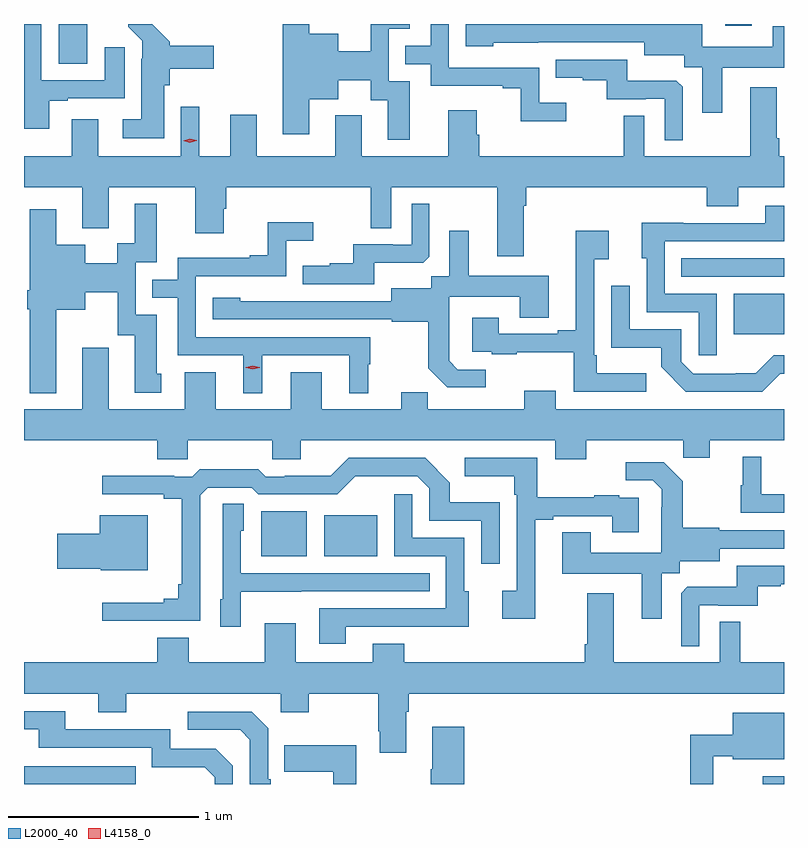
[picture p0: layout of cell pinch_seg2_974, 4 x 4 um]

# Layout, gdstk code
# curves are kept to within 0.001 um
import gdstk
lib = gdstk.Library(unit=1e-6, precision=1e-09)
def R(c, l, rs):  # rectangles x0, y0, x1, y1
    for r in rs: c.add(gdstk.rectangle(r[:2], r[2:], *l))
def P(c, l, *ps):  # polygons
    for p in ps: c.add(gdstk.Polygon(p, *l))
L2000_40 = (2000, 40)
L4158_0 = (4158, 0)

pinch_seg2_974 = lib.new_cell('pinch_seg2_974')
R(pinch_seg2_974, L2000_40, [(135.653,648.492,136.241,648.585), (139.54,648.492,139.653,648.532), (136.901,649.691,137.14,649.927), (137.234,649.691,137.512,649.906), (139.388,650.858,139.653,651.073), (139.111,651.162,139.653,651.258), (135.836,652.282,135.985,652.492), (139.343,652.482,139.483,652.492)])
P(pinch_seg2_974, L2000_40, [(138.508,652.078),(138.366,652.078),(138.366,652.263),(137.889,652.263),(137.889,652.492),(137.793,652.492),(137.793,652.377),(137.659,652.377),(137.659,652.281),(137.793,652.281),(137.793,652.167),(138.173,652.167),(138.173,652.155),(138.268,652.155),(138.268,651.98),(138.508,651.98)],
  [(135.787,652.089),(135.883,652.089),(135.883,652.101),(136.183,652.101),(136.183,652.369),(136.079,652.369),(136.079,652.197),(135.745,652.197),(135.745,652.492),(135.653,652.492),(135.653,651.942),(135.787,651.942)],
  [(136.39,652.17),(136.421,652.17),(136.421,652.256),(136.651,652.256),(136.651,652.378),(136.421,652.378),(136.421,652.398),(136.327,652.492),(136.201,652.492),(136.201,652.478),(136.275,652.404),(136.275,652.31),(136.271,652.31),(136.271,651.991),(136.173,651.991),(136.173,651.89),(136.39,651.89)],
  [(139.327,652.262),(139.653,652.262),(139.653,652.481),(139.595,652.481),(139.595,652.372),(139.224,652.372),(139.224,652.492),(138.921,652.492),(138.921,652.491),(137.979,652.491),(137.979,652.376),(138.123,652.376),(138.123,652.394),(138.359,652.394),(138.359,652.395),(138.917,652.395),(138.917,652.328),(139.128,652.328),(139.128,652.264),(139.223,652.264),(139.223,652.026),(139.327,652.026)],
  [(137.683,652.191),(137.574,652.191),(137.574,652.467),(137.683,652.467),(137.683,652.492),(137.478,652.492),(137.478,652.348),(137.308,652.348),(137.308,652.441),(137.155,652.441),(137.155,652.492),(137.015,652.492),(137.015,651.912),(137.155,651.912),(137.155,652.097),(137.308,652.097),(137.308,652.196),(137.477,652.196),(137.477,652.09),(137.567,652.09),(137.567,651.882),(137.683,651.882)],
  [(139.119,652.161),(139.087,652.193),(138.829,652.193),(138.829,652.305),(138.451,652.305),(138.451,652.208),(138.595,652.208),(138.595,652.197),(138.719,652.197),(138.719,652.095),(138.926,652.095),(138.926,652.098),(139.026,652.098),(139.026,651.881),(139.119,651.881)],
  [(138.05,651.909),(138.037,651.909),(138.037,652.039),(137.885,652.039),(137.885,651.796),(137.431,651.796),(137.431,652.012),(137.291,652.012),(137.291,651.796),(136.879,651.796),(136.879,652.015),(136.739,652.015),(136.739,651.796),(136.576,651.796),(136.576,652.057),(136.479,652.057),(136.479,651.796),(136.045,651.796),(136.045,651.991),(135.905,651.991),(135.905,651.796),(135.653,651.796),(135.653,651.632),(135.959,651.632),(135.959,651.416),(136.099,651.416),(136.099,651.632),(136.553,651.632),(136.553,651.39),(136.705,651.39),(136.705,651.519),(136.718,651.519),(136.718,651.632),(137.478,651.632),(137.478,651.418),(137.586,651.418),(137.586,651.632),(138.143,651.632),(138.143,651.27),(138.283,651.27),(138.283,651.536),(138.296,651.536),(138.296,651.632),(139.247,651.632),(139.247,651.533),(139.411,651.533),(139.411,651.632),(139.653,651.632),(139.653,651.796),(139.628,651.796),(139.628,651.892),(139.615,651.892),(139.615,652.159),(139.475,652.159),(139.475,651.796),(138.918,651.796),(138.918,652.01),(138.81,652.01),(138.81,651.796),(138.05,651.796)],
  [(135.823,650.987),(135.976,650.987),(135.976,651.08),(136.146,651.08),(136.146,650.853),(136.235,650.853),(136.235,650.55),(136.375,650.55),(136.375,650.652),(136.351,650.652),(136.351,650.961),(136.242,650.961),(136.242,651.237),(136.351,651.237),(136.351,651.547),(136.235,651.547),(136.235,651.338),(136.145,651.338),(136.145,651.232),(135.976,651.232),(135.976,651.331),(135.823,651.331),(135.823,651.517),(135.683,651.517),(135.683,651.091),(135.671,651.091),(135.671,650.991),(135.683,650.991),(135.683,650.549),(135.823,650.549)],
  [(137.497,651.236),(137.755,651.236),(137.787,651.267),(137.787,651.547),(137.694,651.547),(137.694,651.33),(137.594,651.33),(137.594,651.333),(137.387,651.333),(137.387,651.232),(137.263,651.232),(137.263,651.22),(137.119,651.22),(137.119,651.123),(137.497,651.123)],
  [(139.299,651.072),(139.026,651.072),(139.026,651.348),(139.653,651.348),(139.653,651.535),(139.553,651.535),(139.553,651.444),(139.123,651.444),(139.123,651.446),(138.905,651.446),(138.905,651.258),(138.93,651.258),(138.93,650.976),(139.203,650.976),(139.203,650.748),(139.299,650.748)],
  [(136.906,650.748),(137.366,650.748),(137.366,650.549),(137.464,650.549),(137.464,650.7),(137.476,650.7),(137.476,650.844),(136.557,650.844),(136.557,651.165),(137.034,651.165),(137.034,651.35),(137.176,651.35),(137.176,651.449),(136.936,651.449),(136.936,651.274),(136.841,651.274),(136.841,651.261),(136.461,651.261),(136.461,651.147),(136.327,651.147),(136.327,651.051),(136.461,651.051),(136.461,650.748),(136.808,650.748),(136.808,650.549),(136.906,650.549)],
  [(138.082,650.673),(137.937,650.673),(137.89,650.72),(137.89,650.815),(137.892,650.815),(137.892,651.056),(138.263,651.056),(138.263,650.947),(138.415,650.947),(138.415,651.166),(137.995,651.166),(137.995,651.403),(137.891,651.403),(137.891,651.164),(137.796,651.164),(137.796,651.1),(137.585,651.1),(137.585,651.033),(136.791,651.034),(136.791,651.052),(136.647,651.052),(136.647,650.937),(137.589,650.937),(137.589,650.925),(137.781,650.925),(137.781,650.679),(137.881,650.579),(138.082,650.579)],
  [(138.928,650.653),(138.667,650.653),(138.667,650.749),(138.654,650.749),(138.654,651.254),(138.73,651.254),(138.73,651.403),(138.557,651.403),(138.557,650.881),(138.461,650.881),(138.461,650.862),(138.151,650.862),(138.151,650.947),(138.011,650.947),(138.011,650.766),(138.115,650.766),(138.115,650.754),(138.247,650.754),(138.247,650.765),(138.546,650.765),(138.546,650.556),(138.928,650.556)],
  [(139.634,650.651),(139.653,650.651),(139.653,650.748),(139.599,650.748),(139.505,650.654),(139.4,650.654),(139.4,650.652),(139.176,650.652),(139.113,650.715),(139.113,650.886),(138.84,650.886),(138.84,651.115),(138.744,651.115),(138.744,650.789),(139.006,650.789),(139.006,650.687),(139.136,650.556),(139.539,650.556)],
  [(138.613,650.3),(139.123,650.3),(139.123,650.21),(139.261,650.21),(139.261,650.3),(139.653,650.3),(139.653,650.464),(138.451,650.464),(138.451,650.563),(138.287,650.563),(138.287,650.464),(137.777,650.464),(137.777,650.555),(137.639,650.555),(137.639,650.464),(137.221,650.464),(137.221,650.659),(137.057,650.659),(137.057,650.464),(136.663,650.464),(136.663,650.659),(136.499,650.659),(136.499,650.464),(136.099,650.464),(136.099,650.788),(135.959,650.788),(135.959,650.464),(135.653,650.464),(135.653,650.3),(136.355,650.3),(136.355,650.202),(136.515,650.202),(136.515,650.3),(136.96,650.3),(136.96,650.202),(137.11,650.202),(137.11,650.3),(138.449,650.3),(138.449,650.201),(138.613,650.201)],
  [(139.653,650.016),(139.534,650.016),(139.534,650.215),(139.436,650.215),(139.436,650.064),(139.425,650.064),(139.425,649.92),(139.653,649.92)],
  [(136.581,650.013),(136.62,650.052),(136.851,650.052),(136.887,650.016),(137.301,650.016),(137.396,650.111),(137.724,650.112),(137.787,650.049),(137.787,649.878),(138.06,649.878),(138.06,649.65),(138.156,649.65),(138.156,649.975),(137.895,649.975),(137.895,650.078),(137.764,650.208),(137.361,650.208),(137.267,650.114),(137.026,650.114),(137.026,650.109),(136.926,650.109),(136.887,650.149),(136.579,650.149),(136.539,650.109),(136.445,650.109),(136.445,650.114),(136.065,650.114),(136.065,650.016),(136.388,650.016),(136.388,649.994),(136.484,649.994),(136.484,649.543),(136.465,649.543),(136.465,649.466),(136.388,649.466),(136.388,649.447),(136.065,649.447),(136.065,649.35),(136.581,649.35)],
  [(138.343,649.884),(138.439,649.884),(138.439,649.902),(138.749,649.902),(138.749,649.818),(138.889,649.818),(138.889,649.998),(138.785,649.998),(138.785,650.011),(138.653,650.011),(138.653,650),(138.355,650),(138.355,650.208),(137.973,650.208),(137.973,650.111),(138.234,650.111),(138.234,650.015),(138.246,650.015),(138.246,649.51),(138.171,649.51),(138.171,649.362),(138.343,649.362)],
  [(139.009,649.6),(139.104,649.6),(139.104,649.664),(139.315,649.664),(139.315,649.731),(139.653,649.731),(139.653,649.827),(139.311,649.827),(139.311,649.84),(139.119,649.84),(139.119,650.085),(139.019,650.185),(138.819,650.185),(138.819,650.091),(138.963,650.091),(139.01,650.044),(139.01,649.949),(139.008,649.949),(139.008,649.708),(138.637,649.708),(138.637,649.817),(138.485,649.817),(138.485,649.598),(138.905,649.598),(138.905,649.362),(139.009,649.362)],
  [(137.347,649.32),(137.777,649.32),(137.777,649.319),(137.995,649.319),(137.995,649.506),(137.97,649.506),(137.97,649.788),(137.697,649.788),(137.697,650.017),(137.601,650.017),(137.601,649.692),(137.874,649.692),(137.874,649.416),(137.207,649.416),(137.207,649.23),(137.347,649.23)],
  [(136.794,649.505),(137.111,649.505),(137.111,649.506),(137.789,649.506),(137.789,649.602),(136.794,649.602),(136.794,649.824),(136.81,649.824),(136.81,649.967),(136.698,649.967),(136.698,649.464),(136.685,649.464),(136.685,649.32),(136.794,649.32)],
  [(136.303,649.906),(136.052,649.906),(136.052,649.808),(135.828,649.808),(135.828,649.625),(136.056,649.625),(136.056,649.616),(136.303,649.616)],
  [(139.206,649.434),(139.306,649.434),(139.306,649.431),(139.514,649.431),(139.514,649.533),(139.637,649.533),(139.637,649.544),(139.653,649.544),(139.653,649.641),(139.404,649.641),(139.404,649.529),(139.145,649.529),(139.113,649.497),(139.113,649.217),(139.206,649.217)],
  [(137.665,648.872),(137.678,648.872),(137.678,648.968),(139.653,648.968),(139.653,649.132),(139.423,649.132),(139.423,649.346),(139.314,649.346),(139.314,649.132),(138.757,649.132),(138.757,649.495),(138.617,649.495),(138.617,649.228),(138.605,649.228),(138.605,649.132),(137.653,649.132),(137.653,649.231),(137.489,649.231),(137.489,649.132),(137.083,649.132),(137.083,649.339),(136.919,649.339),(136.919,649.132),(136.519,649.132),(136.519,649.261),(136.355,649.261),(136.355,649.132),(135.653,649.132),(135.653,648.968),(136.043,648.968),(136.043,648.869),(136.191,648.869),(136.191,648.968),(137.004,648.968),(137.004,648.869),(137.151,648.869),(137.151,648.968),(137.518,648.968),(137.518,648.769),(137.525,648.769),(137.525,648.657),(137.665,648.657)],
  [(136.752,648.588),(136.662,648.678),(136.422,648.678),(136.422,648.78),(135.871,648.78),(135.871,648.876),(135.653,648.876),(135.653,648.78),(135.731,648.78),(135.731,648.684),(136.326,648.684),(136.326,648.581),(136.603,648.581),(136.656,648.528),(136.656,648.492),(136.752,648.492)],
  [(136.951,648.517),(136.938,648.517),(136.938,648.786),(136.851,648.873),(136.515,648.873),(136.515,648.777),(136.791,648.777),(136.842,648.726),(136.842,648.492),(136.951,648.492)],
  [(139.28,648.638),(139.382,648.638),(139.382,648.623),(139.653,648.623),(139.653,648.868),(139.382,648.868),(139.382,648.752),(139.159,648.752),(139.159,648.492),(139.28,648.492)],
  [(137.969,648.793),(137.801,648.793),(137.801,648.569),(137.794,648.569),(137.794,648.492),(137.969,648.492)],
  [(137.401,648.697),(137.023,648.697),(137.023,648.557),(137.28,648.557),(137.28,648.492),(137.401,648.492)])
P(pinch_seg2_974, L4158_0, [(136.857,650.674),(136.821,650.684),(136.821,650.684),(136.821,650.685),(136.857,650.694),(136.893,650.685),(136.893,650.684),(136.893,650.684)],
  [(136.526,651.868),(136.49,651.877),(136.49,651.878),(136.49,651.878),(136.526,651.888),(136.562,651.879),(136.562,651.879),(136.562,651.878)])

lib.write_gds('pinch_seg2_974.gds')
